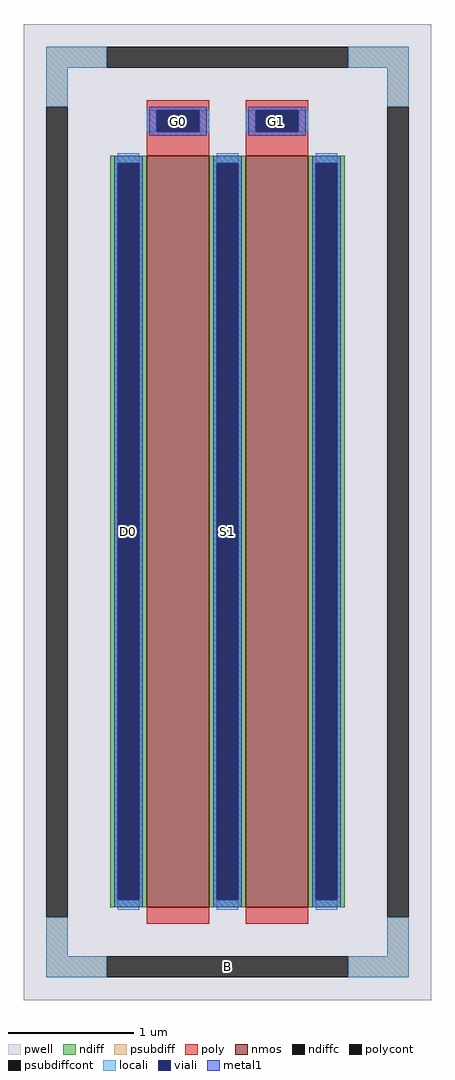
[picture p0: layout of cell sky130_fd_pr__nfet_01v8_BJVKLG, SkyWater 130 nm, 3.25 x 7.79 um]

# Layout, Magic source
magic
tech sky130A
magscale 1 2
<< pwell >>
rect -325 -779 325 779
<< nmos >>
rect -129 -631 -29 569
rect 29 -631 129 569
<< ndiff >>
rect -187 557 -129 569
rect -187 -619 -175 557
rect -141 -619 -129 557
rect -187 -631 -129 -619
rect -29 557 29 569
rect -29 -619 -17 557
rect 17 -619 29 557
rect -29 -631 29 -619
rect 129 557 187 569
rect 129 -619 141 557
rect 175 -619 187 557
rect 129 -631 187 -619
<< ndiffc >>
rect -175 -619 -141 557
rect -17 -619 17 557
rect 141 -619 175 557
<< psubdiff >>
rect -289 709 -193 743
rect 193 709 289 743
rect -289 647 -255 709
rect 255 647 289 709
rect -289 -709 -255 -647
rect 255 -709 289 -647
rect -289 -743 -193 -709
rect 193 -743 289 -709
<< psubdiffcont >>
rect -193 709 193 743
rect -289 -647 -255 647
rect 255 -647 289 647
rect -193 -743 193 -709
<< poly >>
rect -129 641 -29 657
rect -129 607 -113 641
rect -45 607 -29 641
rect -129 569 -29 607
rect 29 641 129 657
rect 29 607 45 641
rect 113 607 129 641
rect 29 569 129 607
rect -129 -657 -29 -631
rect 29 -657 129 -631
<< polycont >>
rect -113 607 -45 641
rect 45 607 113 641
<< locali >>
rect -289 709 -193 743
rect 193 709 289 743
rect -289 647 -255 709
rect 255 647 289 709
rect -129 607 -113 641
rect -45 607 -29 641
rect 29 607 45 641
rect 113 607 129 641
rect -175 557 -141 573
rect -175 -635 -141 -619
rect -17 557 17 573
rect -17 -635 17 -619
rect 141 557 175 573
rect 141 -635 175 -619
rect -289 -709 -255 -647
rect 255 -709 289 -647
rect -289 -743 -193 -709
rect 193 -743 289 -709
<< viali >>
rect -113 607 -45 641
rect 45 607 113 641
rect -175 -619 -141 557
rect -17 -619 17 557
rect 141 -619 175 557
<< metal1 >>
rect -125 641 -33 647
rect -125 607 -113 641
rect -45 607 -33 641
rect -125 601 -33 607
rect 33 641 125 647
rect 33 607 45 641
rect 113 607 125 641
rect 33 601 125 607
rect -181 557 -135 569
rect -181 -619 -175 557
rect -141 -619 -135 557
rect -181 -631 -135 -619
rect -23 557 23 569
rect -23 -619 -17 557
rect 17 -619 23 557
rect -23 -631 23 -619
rect 135 557 181 569
rect 135 -619 141 557
rect 175 -619 181 557
rect 135 -631 181 -619
<< labels >>
rlabel psubdiffcont 0 -726 0 -726 0 B
port 1 nsew
rlabel ndiffc -158 -31 -158 -31 0 D0
port 2 nsew
rlabel polycont -79 624 -79 624 0 G0
port 3 nsew
rlabel ndiffc 0 -31 0 -31 0 S1
port 4 nsew
rlabel polycont 79 624 79 624 0 G1
port 5 nsew
<< properties >>
string FIXED_BBOX -272 -726 272 726
string gencell sky130_fd_pr__nfet_01v8
string library sky130
string parameters w 6 l 0.5 m 1 nf 2 diffcov 100 polycov 100 guard 1 glc 1 grc 1 gtc 1 gbc 1 tbcov 100 rlcov 100 topc 1 botc 0 poverlap 0 doverlap 1 lmin 0.15 wmin 0.42 class mosfet compatible {sky130_fd_pr__nfet_01v8 sky130_fd_pr__nfet_01v8_lvt  sky130_fd_bs_flash__special_sonosfet_star  sky130_fd_pr__nfet_g5v0d10v5 sky130_fd_pr__nfet_05v0_nvt  sky130_fd_pr__nfet_03v3_nvt} full_metal 1 conn_gates 0 viasrc 100 viadrn 100 viagate 100 viagb 0 viagr 0 viagl 0 viagt 0 doports 1
<< end >>
